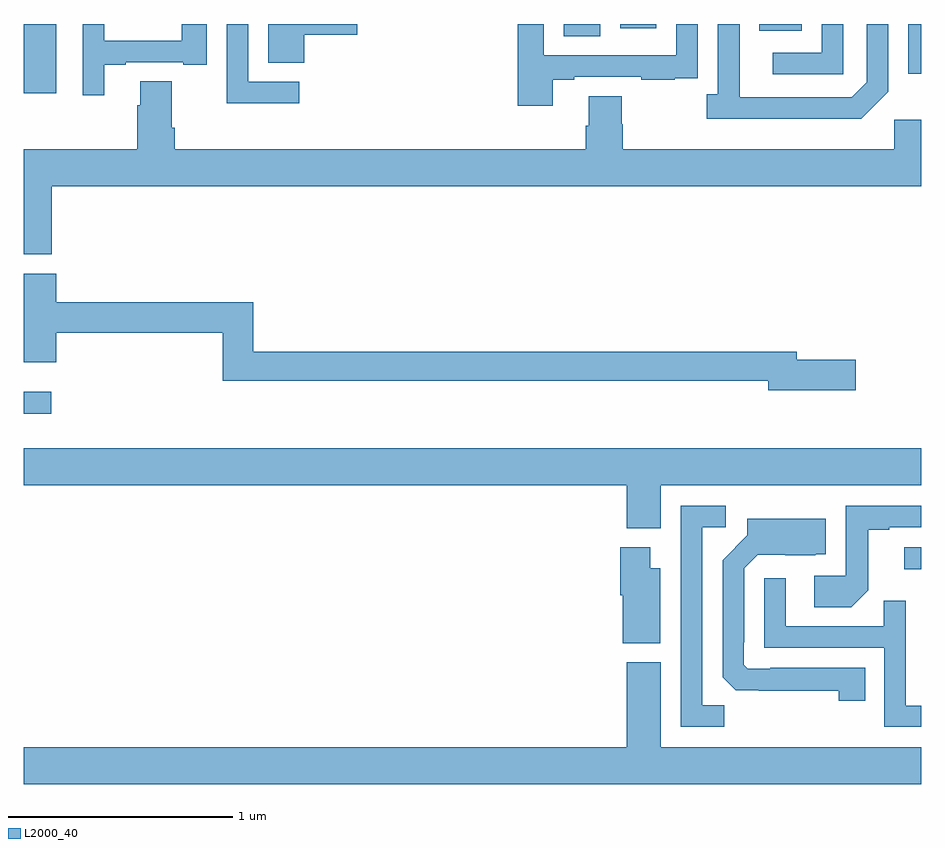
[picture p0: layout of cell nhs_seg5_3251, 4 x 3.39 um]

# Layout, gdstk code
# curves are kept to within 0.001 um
import gdstk
lib = gdstk.Library(unit=1e-6, precision=1e-09)
def R(c, l, rs):  # rectangles x0, y0, x1, y1
    for r in rs: c.add(gdstk.rectangle(r[:2], r[2:], *l))
def P(c, l, *ps):  # polygons
    for p in ps: c.add(gdstk.Polygon(p, *l))
L2000_40 = (2000, 40)

nhs_seg5_3251 = lib.new_cell('nhs_seg5_3251')
R(nhs_seg5_3251, L2000_40, [(302.925,872.369,303,872.466), (299,873.062,299.122,873.16), (299,874.491,299.146,874.799), (302.942,874.577,303,874.799), (301.406,874.744,301.57,874.799), (302.279,874.769,302.467,874.799), (301.658,874.779,301.819,874.799)])
P(nhs_seg5_3251, L2000_40, [(300.229,874.542),(300,874.542),(300,874.799),(299.904,874.799),(299.904,874.445),(300.229,874.445)],
  [(299.359,874.617),(299.455,874.617),(299.455,874.629),(299.711,874.629),(299.711,874.617),(299.815,874.617),(299.815,874.799),(299.705,874.799),(299.705,874.725),(299.358,874.725),(299.358,874.799),(299.262,874.799),(299.262,874.482),(299.359,874.482)],
  [(300.251,874.751),(300.487,874.751),(300.487,874.799),(300.089,874.799),(300.089,874.627),(300.251,874.627)],
  [(302.853,874.497),(302.853,874.799),(302.757,874.799),(302.757,874.539),(302.691,874.473),(302.191,874.473),(302.19,874.799),(302.094,874.799),(302.094,874.486),(302.043,874.486),(302.043,874.376),(302.732,874.376)],
  [(301.357,874.551),(301.453,874.551),(301.453,874.563),(301.753,874.563),(301.753,874.551),(301.901,874.551),(301.901,874.557),(302.003,874.557),(302.003,874.666),(302.004,874.666),(302.004,874.799),(301.908,874.799),(301.908,874.659),(301.317,874.659),(301.317,874.799),(301.201,874.799),(301.201,874.434),(301.357,874.434)],
  [(302.652,874.799),(302.556,874.799),(302.556,874.671),(302.337,874.671),(302.337,874.575),(302.652,874.575)],
  [(299.126,874.076),(303,874.076),(303,874.372),(302.88,874.372),(302.88,874.24),(301.67,874.24),(301.67,874.353),(301.665,874.353),(301.665,874.478),(301.517,874.478),(301.517,874.346),(301.505,874.346),(301.505,874.24),(299.672,874.24),(299.672,874.336),(299.659,874.336),(299.659,874.544),(299.519,874.544),(299.519,874.436),(299.507,874.436),(299.507,874.24),(299,874.24),(299,873.772),(299.126,873.772)],
  [(302.707,873.302),(302.446,873.302),(302.446,873.338),(300.023,873.338),(300.023,873.56),(299.144,873.56),(299.144,873.687),(299,873.687),(299,873.291),(299.144,873.291),(299.144,873.424),(299.887,873.424),(299.887,873.21),(302.318,873.21),(302.318,873.167),(302.707,873.167)],
  [(301.84,872.744),(303,872.744),(303,872.908),(299,872.908),(299,872.744),(301.688,872.744),(301.688,872.552),(301.84,872.552)],
  [(302.121,871.763),(302.025,871.763),(302.025,872.556),(302.128,872.556),(302.128,872.652),(301.929,872.652),(301.929,871.668),(302.121,871.668)],
  [(302.763,872.276),(302.763,872.544),(302.857,872.544),(302.857,872.556),(303,872.556),(303,872.652),(302.664,872.652),(302.664,872.34),(302.523,872.34),(302.523,872.2),(302.687,872.2)],
  [(302.75,871.929),(302.326,871.929),(302.326,871.926),(302.226,871.926),(302.208,871.944),(302.208,872.044),(302.211,872.044),(302.211,872.373),(302.271,872.433),(302.528,872.432),(302.531,872.435),(302.575,872.435),(302.575,872.593),(302.225,872.593),(302.225,872.52),(302.115,872.41),(302.115,871.888),(302.174,871.829),(302.632,871.828),(302.632,871.782),(302.75,871.782)],
  [(301.837,872.374),(301.792,872.374),(301.792,872.467),(301.658,872.467),(301.658,872.253),(301.67,872.253),(301.67,872.039),(301.837,872.039)],
  [(303,871.761),(302.931,871.761),(302.931,872.228),(302.833,872.228),(302.833,872.115),(302.397,872.115),(302.397,872.329),(302.301,872.329),(302.301,872.019),(302.835,872.019),(302.835,871.668),(303,871.668)],
  [(303,871.576),(301.84,871.576),(301.84,871.954),(301.688,871.954),(301.688,871.576),(299,871.576),(299,871.412),(303,871.412)])

lib.write_gds('nhs_seg5_3251.gds')
